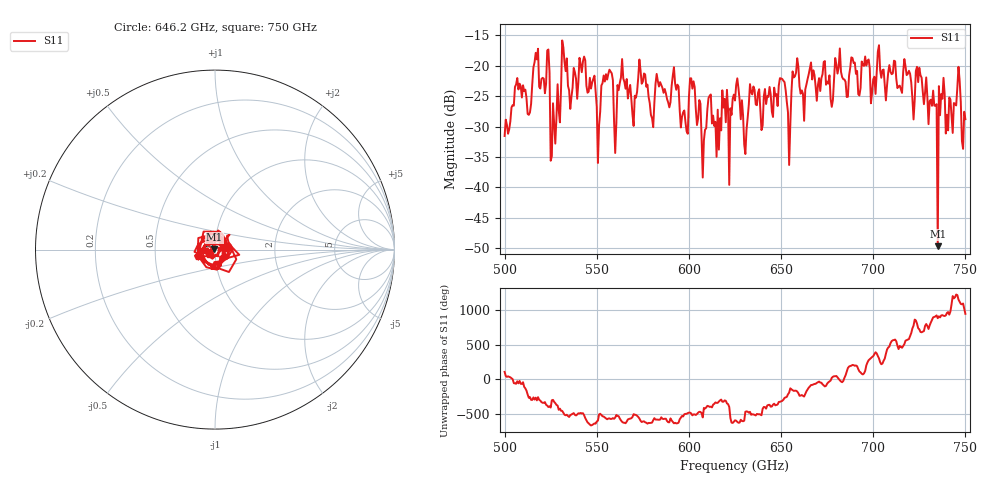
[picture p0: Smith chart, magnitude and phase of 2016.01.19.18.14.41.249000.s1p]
!Created with skrf (http://scikit-rf.org).
# GHz S RI R 50.0
!freq ReS11 ImS11
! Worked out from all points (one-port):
!   401 points, 500 GHz to 750 GHz, reference 50 ohm
!   lowest |S11| = -49.6 dB at 735 GHz (marker M1), VSWR 1.01, Z = 49.7 + j0.122 ohm
!   |S11| at or under -10 dB: start of sweep to end of sweep
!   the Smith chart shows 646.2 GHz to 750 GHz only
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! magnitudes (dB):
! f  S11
! 500 GHz  -31.5
! 506.9 GHz  -22.0
! 513.1 GHz  -28.1
! 516.9 GHz  -17.9
! 523.1 GHz  -17.5
! 526.2 GHz  -26.2
! 531.2 GHz  -15.9
! 542.5 GHz  -19.3
! 550.6 GHz  -36.0
! 562.5 GHz  -22.8
! 593.8 GHz  -23.1
! 598.1 GHz  -29.3
! 601.9 GHz  -23.8
! 608.1 GHz  -32.3
! 610.6 GHz  -25.3
! 616.2 GHz  -33.8
! 625 GHz  -25.7
! 630.6 GHz  -34.5
! 634.4 GHz  -24.7
! 650.6 GHz  -22.2
! 654.4 GHz  -36.3
! 656.2 GHz  -21.0
! 687.5 GHz  -20.4
! 718.8 GHz  -21.4
! 735 GHz  -49.6
! 736.9 GHz  -24.7
! 746.2 GHz  -20.2
! 750 GHz  -28.8
